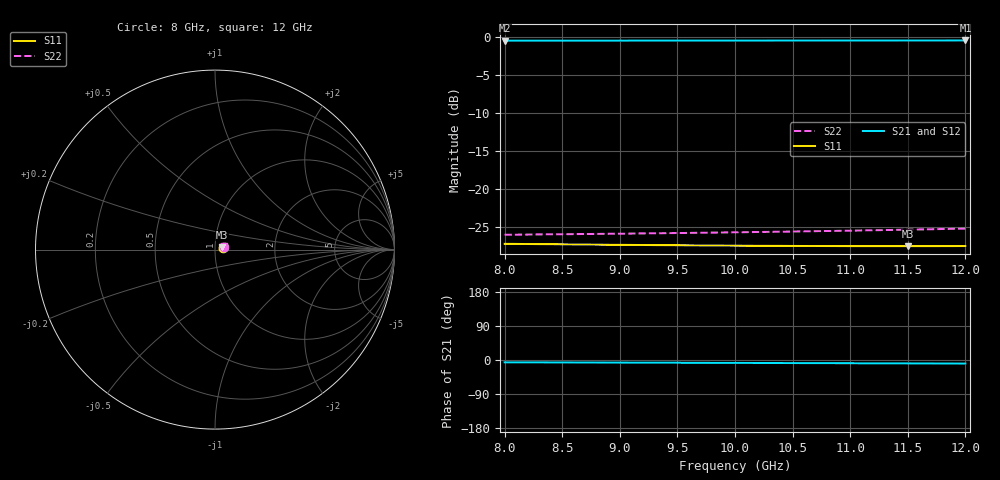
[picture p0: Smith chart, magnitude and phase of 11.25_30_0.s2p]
! Created Thu Oct 22 17:11:07 2020
# hz S ma R 50
! 2 Port Network Data from SP1.SP block
! freq  magS11  angS11  magS21  angS21  magS12  angS12  magS22  angS22
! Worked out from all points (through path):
!   9 points, 8 GHz to 12 GHz, reference 50 ohm
!   highest |S21| = -0.46 dB at 12 GHz (marker M1); lowest = -0.5 dB at 8 GHz (marker M2)
!   lowest |S11| = -27.5 dB at 11.5 GHz (marker M3), VSWR 1.09, Z = 54.1 + j1.54 ohm
!   |S11| at or under -10 dB: start of sweep to end of sweep
!   |S22| runs from -26.0 to -25.1 dB; largest |S21 - S12| = 0
8e9  0.04394 8.4  0.9452 -6.1  0.9452 -6.1  0.05039 13.7
8.5e9  0.04359 9.6  0.9455 -6.5  0.9455 -6.5  0.05077 14.9
9e9  0.04326 10.9  0.9459 -6.9  0.9459 -6.9  0.0512 16.0
9.5e9  0.04297 12.4  0.9462 -7.3  0.9462 -7.3  0.0517 17.2
1e10  0.04273 14.0  0.9466 -7.7  0.9466 -7.7  0.05226 18.4
1.05e10  0.04254 15.7  0.947 -8.1  0.947 -8.1  0.05289 19.6
1.1e10  0.04243 17.6  0.9473 -8.5  0.9473 -8.5  0.0536 20.9
1.15e10  0.0424 19.6  0.9477 -9.0  0.9477 -9.0  0.05439 22.2
1.2e10  0.04246 21.7  0.948 -9.4  0.948 -9.4  0.05528 23.5
